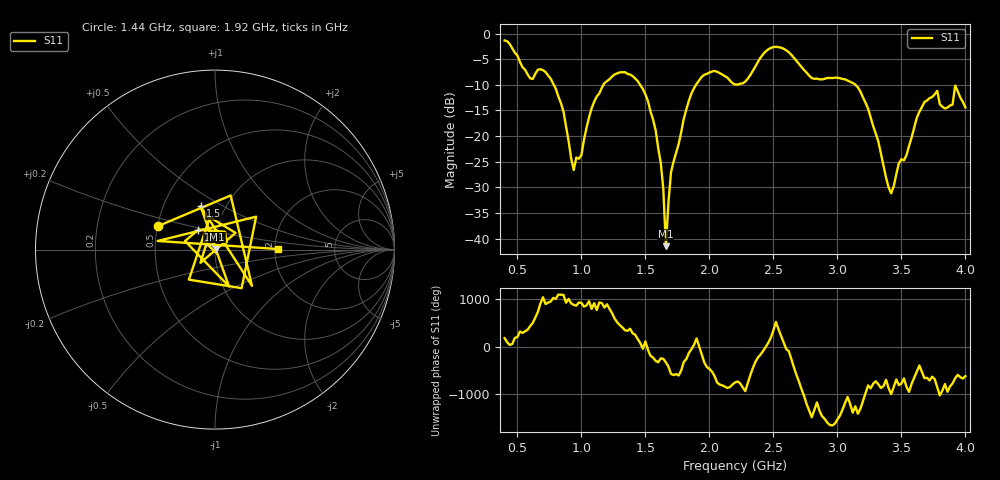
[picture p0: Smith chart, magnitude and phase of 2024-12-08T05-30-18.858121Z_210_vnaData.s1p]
!Created with skrf (http://scikit-rf.org).
# Hz S RI R 50.0
!freq ReS11 ImS11
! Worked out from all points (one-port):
!   181 points, 400 MHz to 4 GHz, reference 50 ohm
!   lowest |S11| = -41.5 dB at 1.66 GHz (marker M1), VSWR 1.02, Z = 50.7 + j0.421 ohm
!   |S11| at or under -10 dB: 784.3 MHz to 1.172 GHz (388 MHz wide, 39.7 % of centre); 1.459 GHz to 1.896 GHz (437 MHz wide, 26.1 % of centre); 3.142 GHz to end of sweep
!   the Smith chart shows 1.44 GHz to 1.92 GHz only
!   S11 on the Smith chart (normalised r, x): 1.44 GHz: 0.50, +0.15; 1.5 GHz: 0.76, +0.39; 1.56 GHz: 0.81, +0.18; 1.92 GHz: 2.08, +0.01
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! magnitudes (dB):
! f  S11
! 400 MHz  -1.3
! 600 MHz  -8.7
! 720 MHz  -7.5
! 860 MHz  -15.2
! 940 MHz  -26.6
! 1.1 GHz  -13.3
! 1.3 GHz  -7.6
! 1.44 GHz  -9.3
! 1.5 GHz  -11.9
! 1.56 GHz  -16.8
! 1.62 GHz  -25.2
! 1.64 GHz  -30.3
! 1.66 GHz  -41.5
! 1.7 GHz  -27.1
! 1.76 GHz  -21.5
! 1.92 GHz  -9.1
! 2.2 GHz  -9.9
! 2.48 GHz  -2.8
! 2.66 GHz  -4.7
! 3.1 GHz  -9.4
! 3.24 GHz  -14.7
! 3.42 GHz  -31.2
! 3.56 GHz  -21.9
! 3.64 GHz  -15.3
! 3.78 GHz  -11.2
! 3.84 GHz  -14.6
! 3.92 GHz  -10.1
! 4 GHz  -14.4
